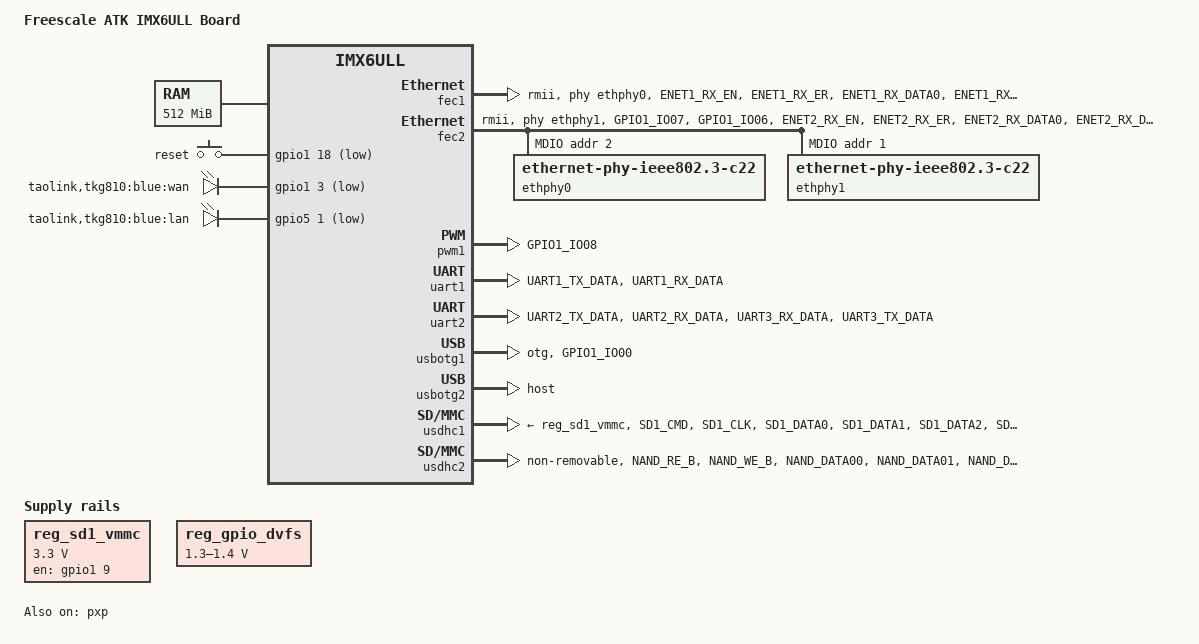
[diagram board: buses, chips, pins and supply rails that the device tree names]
/*
 * Copyright (C) 2016 Freescale Semiconductor, Inc.
 *
 * This program is free software; you can redistribute it and/or modify
 * it under the terms of the GNU General Public License version 2 as
 * published by the Free Software Foundation.
 */

/dts-v1/;

#include <dt-bindings/input/input.h>
#include "imx6ull.dtsi"

/ {
	model = "Freescale ATK IMX6ULL Board";
	compatible = "imx6ull-atk-mmc", "fsl,imx6ull";

	chosen {
		stdout-path = &uart1;
	};

	memory {
		reg = <0x80000000 0x20000000>;
	};

	reserved-memory {
		#address-cells = <1>;
		#size-cells = <1>;
		ranges;

		linux,cma {
			compatible = "shared-dma-pool";
			reusable;
			size = <0x14000000>;
			linux,cma-default;
		};
	};

	pxp_v4l2 {
		compatible = "fsl,imx6ul-pxp-v4l2", "fsl,imx6sx-pxp-v4l2", "fsl,imx6sl-pxp-v4l2";
		status = "okay";
	};

	regulators {
		compatible = "simple-bus";
		#address-cells = <1>;
		#size-cells = <0>;

		reg_sd1_vmmc: regulator@1 {
			compatible = "regulator-fixed";
			regulator-name = "VSD_3V3";
			regulator-min-microvolt = <3300000>;
			regulator-max-microvolt = <3300000>;
			gpio = <&gpio1 9 GPIO_ACTIVE_HIGH>;
			off-on-delay = <20000>;
			enable-active-high;
		};

		reg_gpio_dvfs: regulator-gpio {
			compatible = "regulator-gpio";
			pinctrl-names = "default";
			pinctrl-0 = <&pinctrl_dvfs>;
			regulator-min-microvolt = <1300000>;
			regulator-max-microvolt = <1400000>;
			regulator-name = "gpio_dvfs";
			regulator-type = "voltage";
			gpios = <&gpio5 3 GPIO_ACTIVE_HIGH>;
			states = <1300000 0x1 1400000 0x0>;
		};
	};

    keys {
		compatible = "gpio-keys-polled";
		poll-interval = <20>;
        pinctrl-names = "default";
		pinctrl-0 = <&pinctrl_gpio_keys>;
		#address-cells = <1>;
		#size-cells = <0>;

		reset {
			label = "reset";
			gpios = <&gpio1 18 GPIO_ACTIVE_LOW>;
			linux,code = <KEY_RESTART>;
		};
	};

	leds {
		compatible = "gpio-leds";
        pinctrl-names = "default";
		pinctrl-0 = <&pinctrl_gpio_leds
			        &pinctrl_beep>;
		
		led_wan: led_wan {
			label = "taolink,tkg810:blue:wan";
			gpios = <&gpio1 3 GPIO_ACTIVE_LOW>;
			default-state = "off";
		};

		led_lan: led_lan {
			label = "taolink,tkg810:blue:lan";
			gpios = <&gpio5 1 GPIO_ACTIVE_LOW>;
			default-state = "off";
		};
	};
};

&cpu0 {
	dc-supply = <&reg_gpio_dvfs>;
};

&clks {
	assigned-clocks = <&clks IMX6UL_CLK_PLL4_AUDIO_DIV>;
	assigned-clock-rates = <786432000>;
};

&fec1 {
	pinctrl-names = "default";
	pinctrl-0 = <&pinctrl_enet1
				&pinctrl_enet1_reset>;
	phy-mode = "rmii";
	phy-handle = <&ethphy0>;
	phy-reset-gpios = <&gpio5 7 GPIO_ACTIVE_LOW>;
	phy-reset-duration = <200>;
	phy-reset-post-delay = <200>;
	status = "okay";
};

&fec2 {
	pinctrl-names = "default";
	pinctrl-0 = <&pinctrl_enet2
				&pinctrl_enet2_reset>;
	phy-mode = "rmii";
	phy-handle = <&ethphy1>;
	phy-reset-gpios = <&gpio5 8 GPIO_ACTIVE_LOW>;
	phy-reset-duration = <200>;
	phy-reset-post-delay = <200>;
	status = "okay";

	mdio {
		#address-cells = <1>;
		#size-cells = <0>;

		ethphy0: ethernet-phy@2 {
			compatible = "ethernet-phy-ieee802.3-c22";
			reg = <2>;
			smsc,disable-energy-detect;
			clocks = <&clks IMX6UL_CLK_ENET_REF>;
			clock-names = "rmii-ref";
		};

		ethphy1: ethernet-phy@1 {
			compatible = "ethernet-phy-ieee802.3-c22";
			reg = <1>;
			smsc,disable-energy-detect;
			clocks = <&clks IMX6UL_CLK_ENET2_REF>;
			clock-names = "rmii-ref";
		};
	};
};

&gpc {
	fsl,cpu_pupscr_sw2iso = <0xf>;
	fsl,cpu_pupscr_sw = <0x0>;
	fsl,cpu_pdnscr_iso2sw = <0x1>;
	fsl,cpu_pdnscr_iso = <0x1>;
	fsl,ldo-bypass = <0>; /* DCDC, ldo-enable */
};

&iomuxc {
	pinctrl-names = "default";
	pinctrl-0 = <&pinctrl_hog_1>;
	pinctrl_hog_1: hoggrp-1 {
		fsl,pins = <
			MX6UL_PAD_UART1_RTS_B__GPIO1_IO19	0x17059 /* SD1 CD */
			MX6UL_PAD_GPIO1_IO05__USDHC1_VSELECT	0x17059 /* SD1 VSELECT */
			MX6UL_PAD_GPIO1_IO09__GPIO1_IO09        0x17059 /* SD1 RESET */
		>;
	};

	pinctrl_enet1: enet1grp {
		fsl,pins = <
			MX6UL_PAD_ENET1_RX_EN__ENET1_RX_EN	0x1b0b0
			MX6UL_PAD_ENET1_RX_ER__ENET1_RX_ER	0x1b0b0
			MX6UL_PAD_ENET1_RX_DATA0__ENET1_RDATA00	0x1b0b0
			MX6UL_PAD_ENET1_RX_DATA1__ENET1_RDATA01	0x1b0b0
			MX6UL_PAD_ENET1_TX_EN__ENET1_TX_EN	0x1b0b0
			MX6UL_PAD_ENET1_TX_DATA0__ENET1_TDATA00	0x1b0b0
			MX6UL_PAD_ENET1_TX_DATA1__ENET1_TDATA01	0x1b0b0
			MX6UL_PAD_ENET1_TX_CLK__ENET1_REF_CLK1	0x4001B009
		>;
	};

	pinctrl_enet2: enet2grp {
		fsl,pins = <
			MX6UL_PAD_GPIO1_IO07__ENET2_MDC		0x1b0b0
			MX6UL_PAD_GPIO1_IO06__ENET2_MDIO	0x1b0b0
			MX6UL_PAD_ENET2_RX_EN__ENET2_RX_EN	0x1b0b0
			MX6UL_PAD_ENET2_RX_ER__ENET2_RX_ER	0x1b0b0
			MX6UL_PAD_ENET2_RX_DATA0__ENET2_RDATA00	0x1b0b0
			MX6UL_PAD_ENET2_RX_DATA1__ENET2_RDATA01	0x1b0b0
			MX6UL_PAD_ENET2_TX_EN__ENET2_TX_EN	0x1b0b0
			MX6UL_PAD_ENET2_TX_DATA0__ENET2_TDATA00	0x1b0b0
			MX6UL_PAD_ENET2_TX_DATA1__ENET2_TDATA01	0x1b0b0
			MX6UL_PAD_ENET2_TX_CLK__ENET2_REF_CLK2	0x4001B009
		>;
	};

    pinctrl_gpio_leds: gpio-leds {
        fsl,pins = <
            MX6UL_PAD_GPIO1_IO03__GPIO1_IO03	0x17059
        >;
    };

    pinctrl_gpio_keys: gpio-keys {
        fsl,pins = <
            MX6UL_PAD_UART1_CTS_B__GPIO1_IO18	0x80000000
        >;
    };

	pinctrl_pwm1: pwm1grp {
		fsl,pins = <
			MX6UL_PAD_GPIO1_IO08__PWM1_OUT   0x110b0
		>;
	};

	pinctrl_uart1: uart1grp {
		fsl,pins = <
			MX6UL_PAD_UART1_TX_DATA__UART1_DCE_TX 0x1b0b1
			MX6UL_PAD_UART1_RX_DATA__UART1_DCE_RX 0x1b0b1
		>;
	};

	pinctrl_uart2: uart2grp {
		fsl,pins = <
			MX6UL_PAD_UART2_TX_DATA__UART2_DCE_TX	0x1b0b1
			MX6UL_PAD_UART2_RX_DATA__UART2_DCE_RX	0x1b0b1
			MX6UL_PAD_UART3_RX_DATA__UART2_DCE_RTS	0x1b0b1
			MX6UL_PAD_UART3_TX_DATA__UART2_DCE_CTS	0x1b0b1
		>;
	};

	pinctrl_uart2dte: uart2dtegrp {
		fsl,pins = <
			MX6UL_PAD_UART2_TX_DATA__UART2_DTE_RX	0x1b0b1
			MX6UL_PAD_UART2_RX_DATA__UART2_DTE_TX	0x1b0b1
			MX6UL_PAD_UART3_RX_DATA__UART2_DTE_CTS	0x1b0b1
			MX6UL_PAD_UART3_TX_DATA__UART2_DTE_RTS	0x1b0b1
		>;
	};

	pinctrl_usb_otg1_id: usbotg1idgrp {
		fsl,pins = <
			MX6UL_PAD_GPIO1_IO00__ANATOP_OTG1_ID	0x17059
		>;
	};

	pinctrl_usdhc1: usdhc1grp {
		fsl,pins = <
			MX6UL_PAD_SD1_CMD__USDHC1_CMD     0x17059
			MX6UL_PAD_SD1_CLK__USDHC1_CLK     0x10071
			MX6UL_PAD_SD1_DATA0__USDHC1_DATA0 0x17059
			MX6UL_PAD_SD1_DATA1__USDHC1_DATA1 0x17059
			MX6UL_PAD_SD1_DATA2__USDHC1_DATA2 0x17059
			MX6UL_PAD_SD1_DATA3__USDHC1_DATA3 0x17059
		>;
	};

	pinctrl_usdhc1_100mhz: usdhc1grp100mhz {
		fsl,pins = <
			MX6UL_PAD_SD1_CMD__USDHC1_CMD     0x170b9
			MX6UL_PAD_SD1_CLK__USDHC1_CLK     0x100b9
			MX6UL_PAD_SD1_DATA0__USDHC1_DATA0 0x170b9
			MX6UL_PAD_SD1_DATA1__USDHC1_DATA1 0x170b9
			MX6UL_PAD_SD1_DATA2__USDHC1_DATA2 0x170b9
			MX6UL_PAD_SD1_DATA3__USDHC1_DATA3 0x170b9
		>;
	};

	pinctrl_usdhc1_200mhz: usdhc1grp200mhz {
		fsl,pins = <
			MX6UL_PAD_SD1_CMD__USDHC1_CMD     0x170f9
			MX6UL_PAD_SD1_CLK__USDHC1_CLK     0x100f9
			MX6UL_PAD_SD1_DATA0__USDHC1_DATA0 0x170f9
			MX6UL_PAD_SD1_DATA1__USDHC1_DATA1 0x170f9
			MX6UL_PAD_SD1_DATA2__USDHC1_DATA2 0x170f9
			MX6UL_PAD_SD1_DATA3__USDHC1_DATA3 0x170f9
		>;
	};

	pinctrl_usdhc2: usdhc2grp {
		fsl,pins = <
			MX6UL_PAD_NAND_RE_B__USDHC2_CLK     0x10069
			MX6UL_PAD_NAND_WE_B__USDHC2_CMD     0x17059
			MX6UL_PAD_NAND_DATA00__USDHC2_DATA0 0x17059
			MX6UL_PAD_NAND_DATA01__USDHC2_DATA1 0x17059
			MX6UL_PAD_NAND_DATA02__USDHC2_DATA2 0x17059
			MX6UL_PAD_NAND_DATA03__USDHC2_DATA3 0x17059
		>;
	};

	pinctrl_usdhc2_8bit: usdhc2grp_8bit {
		fsl,pins = <
			MX6UL_PAD_NAND_RE_B__USDHC2_CLK     0x10069
			MX6UL_PAD_NAND_WE_B__USDHC2_CMD     0x17059
			MX6UL_PAD_NAND_DATA00__USDHC2_DATA0 0x17059
			MX6UL_PAD_NAND_DATA01__USDHC2_DATA1 0x17059
			MX6UL_PAD_NAND_DATA02__USDHC2_DATA2 0x17059
			MX6UL_PAD_NAND_DATA03__USDHC2_DATA3 0x17059
			MX6UL_PAD_NAND_DATA04__USDHC2_DATA4 0x17059
			MX6UL_PAD_NAND_DATA05__USDHC2_DATA5 0x17059
			MX6UL_PAD_NAND_DATA06__USDHC2_DATA6 0x17059
			MX6UL_PAD_NAND_DATA07__USDHC2_DATA7 0x17059
		>;
	};

	pinctrl_usdhc2_8bit_100mhz: usdhc2grp_8bit_100mhz {
		fsl,pins = <
			MX6UL_PAD_NAND_RE_B__USDHC2_CLK     0x100b9
			MX6UL_PAD_NAND_WE_B__USDHC2_CMD     0x170b9
			MX6UL_PAD_NAND_DATA00__USDHC2_DATA0 0x170b9
			MX6UL_PAD_NAND_DATA01__USDHC2_DATA1 0x170b9
			MX6UL_PAD_NAND_DATA02__USDHC2_DATA2 0x170b9
			MX6UL_PAD_NAND_DATA03__USDHC2_DATA3 0x170b9
			MX6UL_PAD_NAND_DATA04__USDHC2_DATA4 0x170b9
			MX6UL_PAD_NAND_DATA05__USDHC2_DATA5 0x170b9
			MX6UL_PAD_NAND_DATA06__USDHC2_DATA6 0x170b9
			MX6UL_PAD_NAND_DATA07__USDHC2_DATA7 0x170b9
		>;
	};

	pinctrl_usdhc2_8bit_200mhz: usdhc2grp_8bit_200mhz {
		fsl,pins = <
			MX6UL_PAD_NAND_RE_B__USDHC2_CLK     0x100f9
			MX6UL_PAD_NAND_WE_B__USDHC2_CMD     0x170f9
			MX6UL_PAD_NAND_DATA00__USDHC2_DATA0 0x170f9
			MX6UL_PAD_NAND_DATA01__USDHC2_DATA1 0x170f9
			MX6UL_PAD_NAND_DATA02__USDHC2_DATA2 0x170f9
			MX6UL_PAD_NAND_DATA03__USDHC2_DATA3 0x170f9
			MX6UL_PAD_NAND_DATA04__USDHC2_DATA4 0x170f9
			MX6UL_PAD_NAND_DATA05__USDHC2_DATA5 0x170f9
			MX6UL_PAD_NAND_DATA06__USDHC2_DATA6 0x170f9
			MX6UL_PAD_NAND_DATA07__USDHC2_DATA7 0x170f9
		>;
	};

	pinctrl_wdog: wdoggrp {
		fsl,pins = <
			MX6UL_PAD_LCD_RESET__WDOG1_WDOG_ANY    0x30b0
		>;
	};
};

&iomuxc_snvs {
	pinctrl-names = "default_snvs";
        pinctrl-0 = <&pinctrl_hog_2>;
        imx6ul-evk {
		pinctrl_hog_2: hoggrp-2 {
                        fsl,pins = <
                                MX6ULL_PAD_SNVS_TAMPER0__GPIO5_IO00      0x80000000
                        >;
                };

		pinctrl_dvfs: dvfsgrp {
                        fsl,pins = <
                                MX6ULL_PAD_SNVS_TAMPER3__GPIO5_IO03      0x79
                        >;
                };

        pinctrl_beep: beep {
                    fsl,pins = <
                        MX6ULL_PAD_SNVS_TAMPER1__GPIO5_IO01	0x17059
                    >;
		        };

		/*enet1 reset zuozhongkai*/
		pinctrl_enet1_reset: enet1resetgrp {
						fsl,pins = <
							/* used for enet1 reset */
							MX6ULL_PAD_SNVS_TAMPER7__GPIO5_IO07 0x79 
						>;
				};

		/*enet2 reset zuozhongkai*/
		pinctrl_enet2_reset: enet2resetgrp {
						fsl,pins = <
							/* used for enet2 reset */
							MX6ULL_PAD_SNVS_TAMPER8__GPIO5_IO08 0x79 
						>;
				};
        };
};

&pwm1 {
	pinctrl-names = "default";
	pinctrl-0 = <&pinctrl_pwm1>;
	status = "okay";
};

&pxp {
	status = "okay";
};

&uart1 {
	pinctrl-names = "default";
	pinctrl-0 = <&pinctrl_uart1>;
	status = "okay";
};

&uart2 {
	pinctrl-names = "default";
	pinctrl-0 = <&pinctrl_uart2>;
	fsl,uart-has-rtscts;
	/* for DTE mode, add below change */
	/* fsl,dte-mode; */
	/* pinctrl-0 = <&pinctrl_uart2dte>; */
	status = "okay";
};

&usbotg1 {
	pinctrl-names = "default";
	pinctrl-0 = <&pinctrl_usb_otg1_id>;
	dr_mode = "otg";
	srp-disable;
	hnp-disable;
	adp-disable;
	status = "okay";
};

&usbotg2 {
	dr_mode = "host";
	disable-over-current;
	status = "okay";
};

&usbphy1 {
	fsl,tx-d-cal = <106>;
};

&usbphy2 {
	fsl,tx-d-cal = <106>;
};

&usdhc1 {
	pinctrl-names = "default", "state_100mhz", "state_200mhz";
	pinctrl-0 = <&pinctrl_usdhc1>;
	pinctrl-1 = <&pinctrl_usdhc1_100mhz>;
	pinctrl-2 = <&pinctrl_usdhc1_200mhz>;
	cd-gpios = <&gpio1 19 GPIO_ACTIVE_LOW>;
	keep-power-in-suspend;
	enable-sdio-wakeup;
	vmmc-supply = <&reg_sd1_vmmc>;
	no-1-8-v;
	max-frequency = <50000000>;
	status = "okay";
};

&usdhc2 {
	pinctrl-names = "default";
	pinctrl-0 = <&pinctrl_usdhc2>;
	non-removable;
	status = "okay";
};

&wdog1 {
	pinctrl-names = "default";
	pinctrl-0 = <&pinctrl_wdog>;
	fsl,ext-reset-output;
};

/* ===== industrial_control 二次开发追加：7 寸屏(1024x600) + 电容触摸 ===== */
#include "lcd_touch.dtsi"
